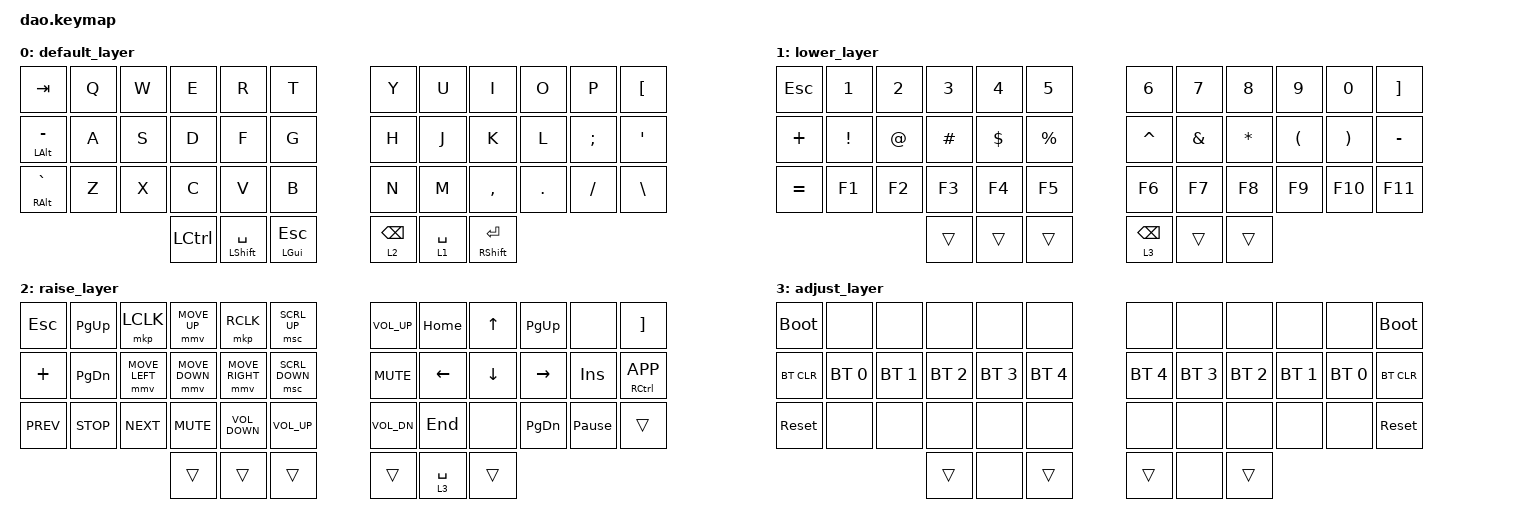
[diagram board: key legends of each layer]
/*
 * Copyright (c) 2021 Rafael Yumagulov
 *
 * SPDX-License-Identifier: MIT
 */

#define ZMK_POINTING_DEFAULT_MOVE_VAL 900  // default: 600
#define ZMK_POINTING_DEFAULT_SCRL_VAL 20    // default: 10

#include <behaviors.dtsi>
#include <dt-bindings/zmk/bt.h>
#include <dt-bindings/zmk/keys.h>
#include <dt-bindings/zmk/pointing.h>

#define DEF 0
#define LWR 1
#define RSE 2
#define ADJ 3

&lt { quick_tap_ms = <200>; };

&mt { quick_tap_ms = <200>; };

/ {
    chosen {
        //zmk,matrix_transform = &default_transform;
        // zmk,matrix_transform = &extra_keys_transform;
        zmk,physical_layout = &dao_full_layout;
    };
};

/ {
    keymap {
        compatible = "zmk,keymap";

        default_layer {
            bindings = <
&kp TAB              &kp Q  &kp W  &kp E      &kp R                 &kp T                &kp Y            &kp U        &kp I                  &kp O    &kp P     &kp LBKT
&mt LEFT_ALT MINUS   &kp A  &kp S  &kp D      &kp F                 &kp G                &kp H            &kp J        &kp K                  &kp L    &kp SEMI  &kp APOSTROPHE
&mt RIGHT_ALT GRAVE  &kp Z  &kp X  &kp C      &kp V                 &kp B                &kp N            &kp M        &kp COMMA              &kp DOT  &kp FSLH  &kp BACKSLASH
                                   &kp LCTRL  &mt LEFT_SHIFT SPACE  &mt LEFT_GUI ESCAPE  &lt 2 BACKSPACE  &lt 1 SPACE  &mt RIGHT_SHIFT ENTER
            >;
        };

        lower_layer {
            bindings = <
&kp ESCAPE  &kp N1    &kp N2  &kp N3    &kp N4    &kp N5     &kp N6           &kp N7    &kp N8    &kp N9    &kp N0    &kp RIGHT_BRACKET
&kp PLUS    &kp EXCL  &kp AT  &kp HASH  &kp DLLR  &kp PRCNT  &kp CARET        &kp AMPS  &kp STAR  &kp LPAR  &kp RPAR  &kp MINUS
&kp EQUAL   &kp F1    &kp F2  &kp F3    &kp F4    &kp F5     &kp F6           &kp F7    &kp F8    &kp F9    &kp F10   &kp F11
                              &trans    &trans    &trans     &lt 3 BACKSPACE  &trans    &trans
            >;
        };

        raise_layer {
            bindings = <
&kp ESCAPE  &kp PG_UP      &mkp LCLK       &mmv MOVE_UP    &mkp RCLK          &msc SCRL_UP     &kp C_VOL_UP  &kp HOME     &kp UP    &kp PG_UP  &none            &kp RIGHT_BRACKET
&kp PLUS    &kp PAGE_DOWN  &mmv MOVE_LEFT  &mmv MOVE_DOWN  &mmv MOVE_RIGHT    &msc SCRL_DOWN   &kp C_MUTE    &kp LEFT     &kp DOWN  &kp RIGHT  &kp INS          &mt RCTRL K_APP
&kp C_PREV  &kp C_STOP     &kp C_NEXT      &kp C_MUTE      &kp C_VOLUME_DOWN  &kp C_VOLUME_UP  &kp C_VOL_DN  &kp END      &none     &kp PG_DN  &kp PAUSE_BREAK  &trans
                                           &trans          &trans             &trans           &trans        &lt 3 SPACE  &trans
            >;
        };

        adjust_layer {
            bindings = <
&bootloader  &none         &none         &none         &none         &none         &none         &none         &none         &none         &none         &bootloader
&bt BT_CLR   &bt BT_SEL 0  &bt BT_SEL 1  &bt BT_SEL 2  &bt BT_SEL 3  &bt BT_SEL 4  &bt BT_SEL 4  &bt BT_SEL 3  &bt BT_SEL 2  &bt BT_SEL 1  &bt BT_SEL 0  &bt BT_CLR
&sys_reset   &none         &none         &none         &none         &none         &none         &none         &none         &none         &none         &sys_reset
                                         &trans        &none         &trans        &trans        &none         &trans
            >;
        };
    };
};
